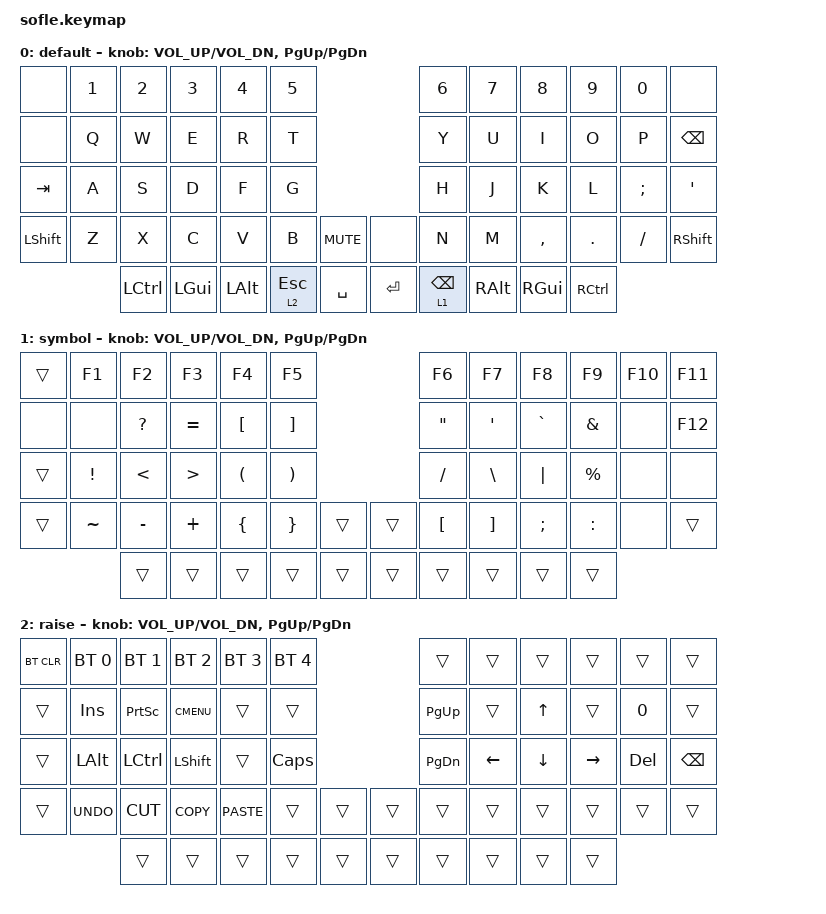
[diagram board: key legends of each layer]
/*
 * Copyright (c) 2020 The ZMK Contributors
 *
 * SPDX-License-Identifier: MIT
 */

#include <behaviors.dtsi>
#include <dt-bindings/zmk/bt.h>
#include <dt-bindings/zmk/keys.h>

#define BASE 0
#define LOWER 1
#define RAISE 2
#define ADJUST 3

/ {
    // Activate ADJUST layer by pressing raise and lower

    conditional_layers {
        compatible = "zmk,conditional-layers";

        adjust_layer {
            if-layers = <2 3>;
            then-layer = <3>;
        };
    };

    keymap {
        compatible = "zmk,keymap";

        default_layer {
            display-name = "default";

            // ------------------------------------------------------------------------------------------------------------
            // |   `   |  1  |  2  |  3   |  4   |  5   |                   |  6   |  7    |  8    |  9   |   0   |       |
            // |  ESC  |  Q  |  W  |  E   |  R   |  T   |                   |  Y   |  U    |  I    |  O   |   P   | BKSPC |
            // |  TAB  |  A  |  S  |  D   |  F   |  G   |                   |  H   |  J    |  K    |  L   |   ;   |   '   |
            // | SHIFT |  Z  |  X  |  C   |  V   |  B   |  MUTE  |  |       |  N   |  M    |  ,    |  .   |   /   | SHIFT |
            //               | GUI | ALT  | CTRL | LOWER|  ENTER |  | SPACE | RAISE| CTRL  | ALT   | GUI  |

            bindings = <
&none      &kp N1  &kp N2     &kp N3        &kp N4        &kp N5                              &kp N6           &kp N7         &kp N8         &kp N9             &kp N0    &none
&none      &kp Q   &kp W      &kp E         &kp R         &kp T                               &kp Y            &kp U          &kp I          &kp O              &kp P     &kp BSPC
&kp TAB    &kp A   &kp S      &kp D         &kp F         &kp G                               &kp H            &kp J          &kp K          &kp L              &kp SEMI  &kp SQT
&kp LSHFT  &kp Z   &kp X      &kp C         &kp V         &kp B      &kp C_MUTE    &none      &kp N            &kp M          &kp COMMA      &kp DOT            &kp FSLH  &kp RSHFT
                   &kp LCTRL  &kp LEFT_GUI  &kp LEFT_ALT  &lt 2 ESC  &kp SPACE     &kp ENTER  &lt 1 BACKSPACE  &kp RIGHT_ALT  &kp RIGHT_GUI  &kp RIGHT_CONTROL
            >;

            sensor-bindings = <&inc_dec_kp C_VOL_UP C_VOL_DN &inc_dec_kp PG_UP PG_DN>;
        };

        symbol_layer {
            display-name = "symbol";

            // TODO: Some binds are waiting for shifted keycode support.
            // ------------------------------------------------------------------------------------------------------------
            // |       |  F1 |  F2 |  F3  |  F4  |  F5  |                   |  F6  |  F7   |  F8   |  F9  |  F10  |  F11  |
            // |   `   |  1  |  2  |  3   |  4   |  5   |                   |  6   |  7    |  8    |  9   |   0   |  F12  |
            // |       |  !  |  @  |  #   |  $   |  %   |                   |  ^   |  &    |  *    |  (   |   )   |   |   |
            // |       |  =  |  -  |  +   |  {   |  }   |        |  |       |  [   |  ]    |  ;    |  :   |   \   |       |
            //               |     |      |      |      |        |  |       |      |       |       |      |

            bindings = <
&trans  &kp F1     &kp F2         &kp F3            &kp F4                &kp F5                                   &kp F6             &kp F7            &kp F8     &kp F9         &kp F10  &kp F11
&none   &none      &kp QUESTION   &kp EQUAL         &kp LEFT_BRACKET      &kp RIGHT_BRACKET                        &kp DOUBLE_QUOTES  &kp SINGLE_QUOTE  &kp GRAVE  &kp AMPERSAND  &none    &kp F12
&trans  &kp EXCL   &kp LESS_THAN  &kp GREATER_THAN  &kp LEFT_PARENTHESIS  &kp RIGHT_PARENTHESIS                    &kp SLASH          &kp BACKSLASH     &kp PIPE   &kp PERCENT    &none    &none
&trans  &kp TILDE  &kp MINUS      &kp PLUS          &kp LBRC              &kp RBRC               &trans    &trans  &kp LBKT           &kp RBKT          &kp SEMI   &kp COLON      &none    &trans
                   &trans         &trans            &trans                &trans                 &trans    &trans  &trans             &trans            &trans     &trans
            >;

            sensor-bindings = <&inc_dec_kp C_VOL_UP C_VOL_DN &inc_dec_kp PG_UP PG_DN>;
        };

        raise_layer {
            display-name = "raise";

            // ------------------------------------------------------------------------------------------------------------
            // | BTCLR | BT1  | BT2  |  BT3  |  BT4  |  BT5 |                |      |      |       |      |       |       |
            // |       | INS  | PSCR | GUI   |       |      |                | PGUP |      |   ^   |      |       |       |
            // |       | ALT  | CTRL | SHIFT |       | CAPS |                | PGDN |   <- |   v   |  ->  |  DEL  | BKSPC |
            // |       | UNDO | CUT  | COPY  | PASTE |      |      |  |      |      |      |       |      |       |       |
            //                |      |       |       |      |      |  |      |      |      |       |      |

            bindings = <
&bt BT_CLR  &bt BT_SEL 0  &bt BT_SEL 1  &bt BT_SEL 2  &bt BT_SEL 3  &bt BT_SEL 4                    &trans     &trans    &trans    &trans     &trans   &trans
&trans      &kp INS       &kp PSCRN     &kp K_CMENU   &trans        &trans                          &kp PG_UP  &trans    &kp UP    &trans     &kp N0   &trans
&trans      &kp LALT      &kp LCTRL     &kp LSHFT     &trans        &kp CLCK                        &kp PG_DN  &kp LEFT  &kp DOWN  &kp RIGHT  &kp DEL  &kp BSPC
&trans      &kp K_UNDO    &kp K_CUT     &kp K_COPY    &kp K_PASTE   &trans        &trans    &trans  &trans     &trans    &trans    &trans     &trans   &trans
                          &trans        &trans        &trans        &trans        &trans    &trans  &trans     &trans    &trans    &trans
            >;

            sensor-bindings = <&inc_dec_kp C_VOL_UP C_VOL_DN &inc_dec_kp PG_UP PG_DN>;
        };
    };
};
